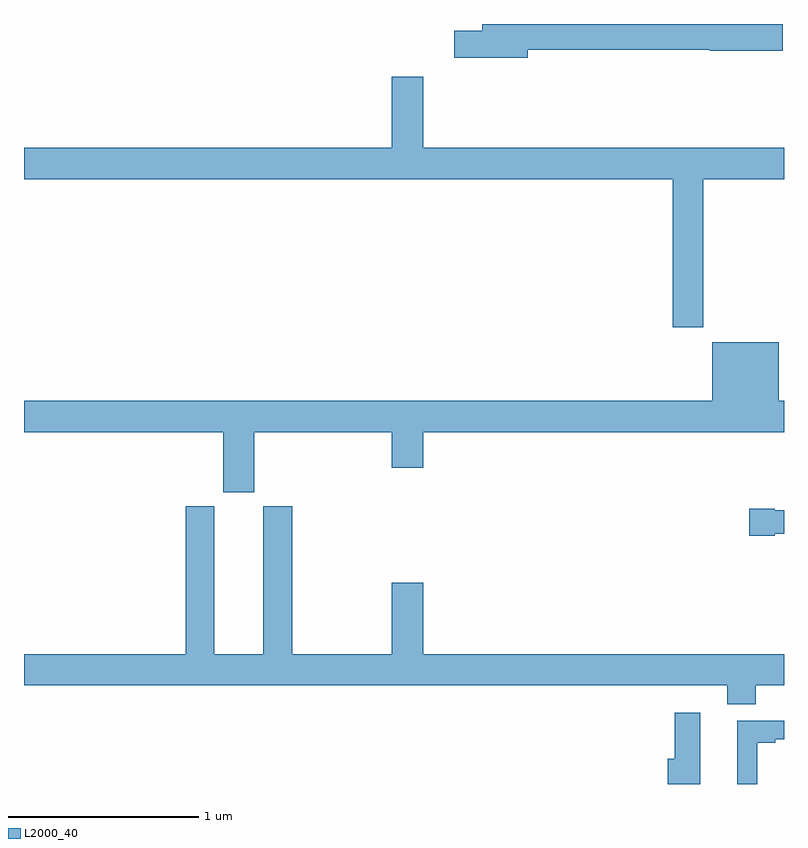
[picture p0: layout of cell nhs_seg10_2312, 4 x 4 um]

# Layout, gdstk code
import gdstk
lib = gdstk.Library(unit=1e-6, precision=1e-09)
def P(c, l, *ps):  # polygons
    for p in ps: c.add(gdstk.Polygon(p, *l))
L2000_40 = (2000, 40)

nhs_seg10_2312 = lib.new_cell('nhs_seg10_2312')
P(nhs_seg10_2312, L2000_40, [(237.652,1266.364),(238.608,1266.364),(238.608,1266.359),(238.993,1266.359),(238.993,1266.5),(237.413,1266.5),(237.413,1266.464),(237.264,1266.464),(237.264,1266.322),(237.652,1266.322)],
  [(238.575,1265.684),(239,1265.684),(239,1265.848),(237.1,1265.848),(237.1,1266.223),(236.936,1266.223),(236.936,1265.848),(235,1265.848),(235,1265.684),(238.415,1265.684),(238.415,1264.905),(238.575,1264.905)],
  [(236.212,1264.352),(236.936,1264.352),(236.936,1264.164),(237.1,1264.164),(237.1,1264.352),(239,1264.352),(239,1264.516),(238.972,1264.516),(238.972,1264.825),(238.622,1264.825),(238.622,1264.516),(235,1264.516),(235,1264.352),(236.048,1264.352),(236.048,1264.035),(236.212,1264.035)],
  [(238.852,1263.02),(239,1263.02),(239,1263.184),(237.1,1263.184),(237.1,1263.559),(236.936,1263.559),(236.936,1263.184),(236.411,1263.184),(236.411,1263.963),(236.258,1263.963),(236.258,1263.184),(236.002,1263.184),(236.002,1263.963),(235.85,1263.963),(235.85,1263.184),(235,1263.184),(235,1263.02),(238.7,1263.02),(238.7,1262.921),(238.852,1262.921)],
  [(238.95,1263.818),(239,1263.818),(239,1263.94),(238.95,1263.94),(238.95,1263.948),(238.818,1263.948),(238.818,1263.806),(238.95,1263.806)],
  [(238.558,1262.875),(238.424,1262.875),(238.424,1262.634),(238.388,1262.634),(238.388,1262.5),(238.558,1262.5)],
  [(238.858,1262.716),(238.954,1262.716),(238.954,1262.736),(239,1262.736),(239,1262.832),(238.754,1262.832),(238.754,1262.5),(238.858,1262.5)])

lib.write_gds('nhs_seg10_2312.gds')
